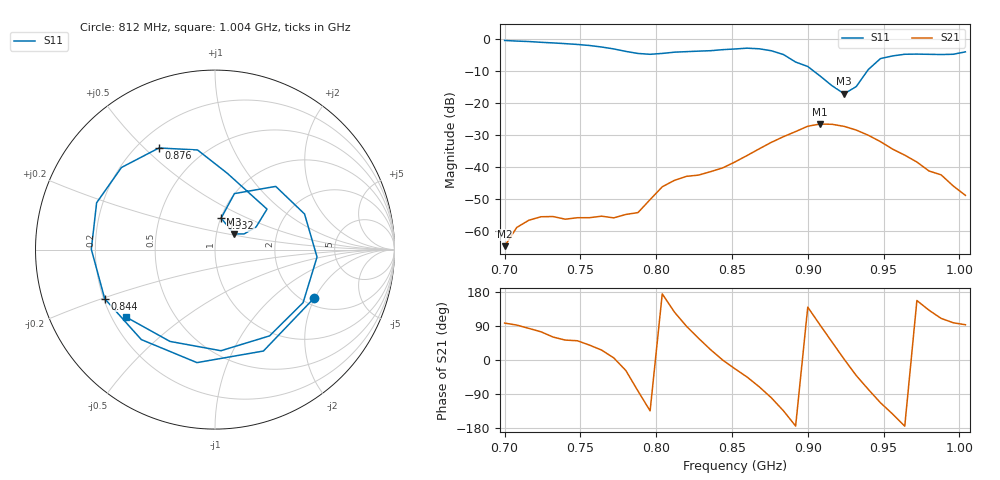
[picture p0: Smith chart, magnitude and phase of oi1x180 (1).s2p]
# Hz S RI R 50
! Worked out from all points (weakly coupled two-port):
!   39 points, 700 MHz to 1.004 GHz, reference 50 ohm
!   highest |S21| = -26.66 dB at 908 MHz (marker M1); lowest = -64.8 dB at 700 MHz (marker M2)
!   lowest |S11| = -17.2 dB at 924 MHz (marker M3), VSWR 1.32, Z = 60.9 + j10.8 ohm
!   |S11| at or under -10 dB: 903.6 MHz to 939.4 MHz (35.87 MHz wide, 3.89 % of centre)
!   S12 and S22 are empty: the file has one direction only
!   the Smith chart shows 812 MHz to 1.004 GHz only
!   S11 on the Smith chart (normalised r, x): 812 MHz: 2.26, -1.97; 844 MHz: 0.20, -0.20; 876 MHz: 0.28, +0.55; 932 MHz: 1.00, +0.36; 1.004 GHz: 0.26, -0.32
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7e8  0.757 0.5503  -7.42e-05 0.000572  0 0  0 0
7.24e8  0.8416 -0.2423  0.000445 0.0016  0 0  0 0
7.4e8  0.4581 -0.6979  0.000923 0.00121  0 0  0 0
7.56e8  -0.1888 -0.7575  0.00124 0.00102  0 0  0 0
7.72e8  -0.6606 -0.2013  0.00159 0.000154  0 0  0 0
7.8e8  -0.5927 0.2176  0.00159 -0.000839  0 0  0 0
7.88e8  -0.2519 0.5297  0.000269 -0.00191  0 0  0 0
7.96e8  0.232 0.5197  -0.00215 -0.0022  0 0  0 0
8.04e8  0.5602 0.1763  -0.00485 0.000465  0 0  0 0
8.12e8  0.551 -0.2714  -0.00366 0.00492  0 0  0 0
8.28e8  -0.1005 -0.6297  0.00402 0.00623  0 0  0 0
8.44e8  -0.6145 -0.2736  0.00963 -9.82e-05  0 0  0 0
8.52e8  -0.6891 0.00191  0.0109 -0.00469  0 0  0 0
8.76e8  -0.3122 0.5662  -0.0041 -0.0237  0 0  0 0
9e8  0.2899 0.2256  -0.0326 0.0279  0 0  0 0
9.08e8  0.2296 0.1271  -0.00247 0.0464  0 0  0 0
9.24e8  0.1064 0.0873  0.0427 0.0016  0 0  0 0
9.32e8  0.0342 0.1753  0.0282 -0.0246  0 0  0 0
9.48e8  0.3383 0.3522  -0.0096 -0.0227  0 0  0 0
9.56e8  0.4989 0.1984  -0.015 -0.0114  0 0  0 0
9.8e8  0.304 -0.4807  -0.00567 0.00645  0 0  0 0
1.004e9  -0.4934 -0.3771  -0.000192 0.00357  0 0  0 0
